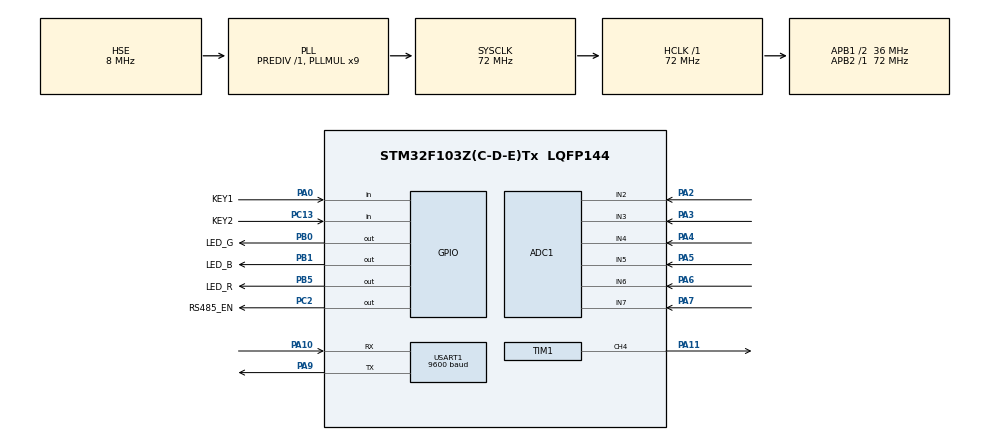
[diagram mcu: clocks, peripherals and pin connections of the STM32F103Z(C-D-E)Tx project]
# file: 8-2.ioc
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ADC1.Channel-0\#ChannelRegularConversion=ADC_CHANNEL_2
ADC1.Channel-1\#ChannelRegularConversion=ADC_CHANNEL_3
ADC1.Channel-2\#ChannelRegularConversion=ADC_CHANNEL_4
ADC1.Channel-3\#ChannelRegularConversion=ADC_CHANNEL_5
ADC1.Channel-4\#ChannelRegularConversion=ADC_CHANNEL_6
ADC1.Channel-5\#ChannelRegularConversion=ADC_CHANNEL_7
ADC1.ContinuousConvMode=ENABLE
ADC1.NbrOfConversion=6
ADC1.NbrOfConversionFlag=1
ADC1.Rank-0\#ChannelRegularConversion=1
ADC1.Rank-1\#ChannelRegularConversion=2
ADC1.Rank-2\#ChannelRegularConversion=3
ADC1.Rank-3\#ChannelRegularConversion=4
ADC1.Rank-4\#ChannelRegularConversion=5
ADC1.Rank-5\#ChannelRegularConversion=6
ADC1.SamplingTime-0\#ChannelRegularConversion=ADC_SAMPLETIME_55CYCLES_5
ADC1.SamplingTime-1\#ChannelRegularConversion=ADC_SAMPLETIME_55CYCLES_5
ADC1.SamplingTime-2\#ChannelRegularConversion=ADC_SAMPLETIME_55CYCLES_5
ADC1.SamplingTime-3\#ChannelRegularConversion=ADC_SAMPLETIME_55CYCLES_5
ADC1.SamplingTime-4\#ChannelRegularConversion=ADC_SAMPLETIME_55CYCLES_5
ADC1.SamplingTime-5\#ChannelRegularConversion=ADC_SAMPLETIME_55CYCLES_5
ADC1.master=1
Dma.ADC1.0.Direction=DMA_PERIPH_TO_MEMORY
Dma.ADC1.0.Instance=DMA1_Channel1
Dma.ADC1.0.MemDataAlignment=DMA_MDATAALIGN_WORD
Dma.ADC1.0.MemInc=DMA_MINC_ENABLE
Dma.ADC1.0.Mode=DMA_CIRCULAR
Dma.ADC1.0.PeriphDataAlignment=DMA_PDATAALIGN_WORD
Dma.ADC1.0.PeriphInc=DMA_PINC_DISABLE
Dma.ADC1.0.Priority=DMA_PRIORITY_LOW
Dma.Request0=ADC1
Mcu.Family=STM32F1
Mcu.Name=STM32F103Z(C-D-E)Tx
Mcu.Package=LQFP144
NVIC.ADC1_2_IRQn=true\:7\:0\:true\:false\:true\:true\:true\:true
NVIC.DMA1_Channel1_IRQn=true\:0\:0\:false\:false\:true\:false\:true\:true
NVIC.PriorityGroup=NVIC_PRIORITYGROUP_4
NVIC.TIM1_UP_IRQn=true\:8\:0\:true\:false\:true\:true\:true\:true
NVIC.TIM2_IRQn=true\:6\:0\:true\:false\:true\:true\:true\:true
NVIC.TIM3_IRQn=true\:9\:0\:true\:false\:true\:true\:true\:true
NVIC.TIM4_IRQn=true\:11\:0\:true\:false\:true\:true\:true\:true
NVIC.USART1_IRQn=true\:10\:0\:true\:false\:true\:true\:true\:true
OSC_IN.Mode=HSE-External-Oscillator
OSC_IN.Signal=RCC_OSC_IN
OSC_OUT.Mode=HSE-External-Oscillator
OSC_OUT.Signal=RCC_OSC_OUT
PA0-WKUP.GPIO_Label=KEY1
PA0-WKUP.GPIO_PuPd=GPIO_PULLDOWN
PA0-WKUP.Signal=GPIO_Input
PA10.Mode=Asynchronous
PA10.Signal=USART1_RX
PA11.Signal=S_TIM1_CH4
PA13.Mode=Serial_Wire
PA13.Signal=SYS_JTMS-SWDIO
PA14.Mode=Serial_Wire
PA14.Signal=SYS_JTCK-SWCLK
PA2.Signal=ADCx_IN2
PA3.Signal=ADCx_IN3
PA4.Signal=ADCx_IN4
PA5.Signal=ADCx_IN5
PA6.Signal=ADCx_IN6
PA7.Signal=ADCx_IN7
PA9.Mode=Asynchronous
PA9.Signal=USART1_TX
PB0.GPIO_Label=LED_G
PB0.GPIO_Speed=GPIO_SPEED_FREQ_LOW
PB0.PinState=GPIO_PIN_SET
PB0.Signal=GPIO_Output
PB1.GPIO_Label=LED_B
PB1.GPIO_Speed=GPIO_SPEED_FREQ_LOW
PB1.PinState=GPIO_PIN_SET
PB1.Signal=GPIO_Output
PB5.GPIO_Label=LED_R
PB5.GPIO_ModeDefaultOutputPP=GPIO_MODE_OUTPUT_PP
PB5.GPIO_PuPd=GPIO_NOPULL
PB5.GPIO_Speed=GPIO_SPEED_FREQ_LOW
PB5.PinState=GPIO_PIN_SET
PB5.Signal=GPIO_Output
PC13-TAMPER-RTC.GPIO_Label=KEY2
PC13-TAMPER-RTC.GPIO_PuPd=GPIO_PULLDOWN
PC13-TAMPER-RTC.Signal=GPIO_Input
PC14-OSC32_IN.Mode=LSE-External-Oscillator
PC14-OSC32_IN.Signal=RCC_OSC32_IN
PC15-OSC32_OUT.Mode=LSE-External-Oscillator
PC15-OSC32_OUT.Signal=RCC_OSC32_OUT
PC2.GPIO_Label=RS485_EN
PC2.Signal=GPIO_Output
ProjectManager.HeapSize=0x200
ProjectManager.StackSize=0x400
ProjectManager.TargetToolchain=MDK-ARM V5.32
RCC.ADCPresc=RCC_ADCPCLK2_DIV6
RCC.AHBFreq_Value=72000000
RCC.APB1CLKDivider=RCC_HCLK_DIV2
RCC.APB1Freq_Value=36000000
RCC.APB1TimFreq_Value=72000000
RCC.APB2Freq_Value=72000000
RCC.APB2TimFreq_Value=72000000
RCC.HCLKFreq_Value=72000000
RCC.PLLMUL=RCC_PLL_MUL9
RCC.PLLSourceVirtual=RCC_PLLSOURCE_HSE
RCC.SYSCLKFreq_VALUE=72000000
RCC.SYSCLKSource=RCC_SYSCLKSOURCE_PLLCLK
RCC.USBFreq_Value=72000000
SH.ADCx_IN2.0=ADC1_IN2,IN2
SH.ADCx_IN3.0=ADC1_IN3,IN3
SH.ADCx_IN4.0=ADC1_IN4,IN4
SH.ADCx_IN5.0=ADC1_IN5,IN5
SH.ADCx_IN6.0=ADC1_IN6,IN6
SH.ADCx_IN7.0=ADC1_IN7,IN7
SH.S_TIM1_CH4.0=TIM1_CH4,PWM Generation4 CH4
TIM1.AutoReloadPreload=TIM_AUTORELOAD_PRELOAD_ENABLE
TIM1.Channel-PWM\ Generation4\ CH4=TIM_CHANNEL_4
TIM1.Prescaler=5
TIM2.Period=49
TIM2.Prescaler=7199
TIM3.Period=99
TIM3.Prescaler=7199
TIM4.Prescaler=7199
USART1.BaudRate=9600
USART1.VirtualMode=VM_ASYNC
VP_TIM1_VS_ClockSourceINT.Mode=Internal
VP_TIM2_VS_ClockSourceINT.Mode=Internal
VP_TIM3_VS_ClockSourceINT.Mode=Internal
VP_TIM4_VS_ClockSourceINT.Mode=Internal
board=custom

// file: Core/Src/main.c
/* USER CODE BEGIN Header */
/**
  ******************************************************************************
  * @file           : main.c
  * @brief          : Main program body
  ******************************************************************************
  * @attention
  *
  * Copyright (c) 2026 STMicroelectronics.
  * All rights reserved.
  *
  * This software is licensed under terms that can be found in the LICENSE file
  * in the root directory of this software component.
  * If no LICENSE file comes with this software, it is provided AS-IS.
  *
  ******************************************************************************
  */
/* USER CODE END Header */
#include "main.h"

ADC_HandleTypeDef hadc1;
DMA_HandleTypeDef hdma_adc1;

TIM_HandleTypeDef htim1;
TIM_HandleTypeDef htim2;
TIM_HandleTypeDef htim3;
TIM_HandleTypeDef htim4;

UART_HandleTypeDef huart1;

void SystemClock_Config(void);
static void MX_GPIO_Init(void);
static void MX_DMA_Init(void);
static void MX_TIM1_Init(void);
static void MX_TIM3_Init(void);
static void MX_TIM4_Init(void);
static void MX_ADC1_Init(void);
static void MX_USART1_UART_Init(void);
static void MX_TIM2_Init(void);

int main(void)
{

  /* MCU Configuration--------------------------------------------------------*/

  /* Reset of all peripherals, Initializes the Flash interface and the Systick. */
  HAL_Init();

  /* Configure the system clock */
  SystemClock_Config();

  /* Initialize all configured peripherals */
  MX_GPIO_Init();
  MX_DMA_Init();
  MX_TIM1_Init();
  MX_TIM3_Init();
  MX_TIM4_Init();
  MX_ADC1_Init();
  MX_USART1_UART_Init();
  MX_TIM2_Init();
  /* USER CODE BEGIN 2 */
  uint8_t photoResBuf[9] = {0x01, 0x03, 0x04, 0x00, 0x00, 0x00, 0x00, 0x00, 0x00}; // 定义一个数组来存储要发送的光敏电阻数据，包含 Modbus RTU 协议的帧头、功能码、数据地址、数据长度和占位符

  /* USER CODE END 2 */

  /* Infinite loop */
  /* USER CODE BEGIN WHILE */
  while (1)
  {
    Key_Scan(); // 扫描按键状态，更新按键标志位

    // 如果按键1被按下，启动 ADC 转换并使用 DMA 将结果存储到 AD_Buf 中
    if (1 == Key1Flag) // 如果按键1被按下
    {
      Key1Flag = 0; // 重置按键1标志位
      HAL_ADC_Start_DMA(&hadc1, (uint32_t *)AD_Buf, ADC_DMA_BUF_LEN); // 启动 ADC 转换并使用 DMA 将结果存储到 AD_Buf 中
    }

    // 如果 DMA 传输完成，处理 ADC 转换结果并通过 RS485 发送光照强度数据
    if (1 == DMA_Flag) // 如果 DMA 传输完成
    {
      unsigned short lux = 0; // 定义一个变量来存储计算得到的光照强度值
      unsigned short crcTemp = 0; // 定义一个变量来存储 CRC 校验值
      uint32_t PhotoResistor = (uint32_t)(10240000 / (1.1 * ADC1_AVG_Buf[4]) -2500); // 根据 ADC1 的第5个通道的平均值计算光敏电阻的阻值，单位为欧姆
      lux = GetLux(PhotoResistor); // 根据光敏电阻的阻值计算光照强度，单位为勒克斯
      photoResBuf[5] = lux >> 8; // 将光照强度的高字节存储到发送缓冲区的第6个位置
      photoResBuf[6] = lux & 0xFF; // 将光照强度的低字节存储到发送缓冲区的第7个位置
      crcTemp = CRC_Compute(photoResBuf, 7); // 计算发送缓冲区前7个字节的 CRC 校验值，使用 Modbus RTU 协议的 CRC16 算法
      photoResBuf[7] = crcTemp & 0xFF; // 将 CRC 校验值的低字节存储到发送缓冲区的第8个位置
      photoResBuf[8] = crcTemp >> 8; // 将 CRC 校验值的高字节存储到发送缓冲区的第9个位置
      RS485_Send(photoResBuf, 9); // 通过 RS485 接口发送整个缓冲区的数据，长度为9字节
      DMA_Flag = 0; // 重置 DMA 传输完成标志
    }

    // 如果接收到 UART 数据并且接收完成标志被设置，处理接收到的数据
    if(Uart1ReceiveFlag)
    {
      if(BROADCAST == Uart1ReceiveBuf[0]) // 如果接收到的数据的第一个字节是广播地址，处理广播命令
      {
        // 进行 CRC 校验
        unsigned short crctemp = CRC_Compute(Uart1ReceiveBuf,Uart1ReceiveCnt - 2);
        if((Uart1ReceiveBuf[Uart1ReceiveCnt - 1] << 8 | Uart1ReceiveBuf[Uart1ReceiveCnt - 1]) == crctemp)
        {
          //写引脚 功能码06 引脚地址默认05
          if((0x06 == Uart1ReceiveBuf[1])&&(0x05 == Uart1ReceiveBuf[3]))
          {
            LED_RED = Uart1ReceiveBuf[5];
          }
        }
      }
      else if(PHOTO_RES == Uart1ReceiveBuf[0])
      {
        //CRC校验
        unsigned short crctemp = CRC_Compute(Uart1ReceiveBuf,Uart1ReceiveCnt - 2);
        if((Uart1ReceiveBuf[Uart1ReceiveCnt - 1] << 8 | Uart1ReceiveBuf[Uart1ReceiveCnt - 2]) == crctemp)
        {
          //写引脚 功能码06 引脚地址默认05
          if((0x06 == Uart1ReceiveBuf[1])&&(0x05 == Uart1ReceiveBuf[3]))
          {
            LED_RED = Uart1ReceiveBuf[5];
            //单播数据需要返回
            RS485_Send(Uart1ReceiveBuf,Uart1ReceiveCnt);
          }
          //读光照度 功能码03 光照度默认地址01 4字节
          if((0x03 == Uart1ReceiveBuf[1])&&(0x01 == Uart1ReceiveBuf[3]))
          {
            //开启ADC1的DMA通道
            HAL_ADC_Start_DMA(&hadc1,(uint32_t *)AD_Buf,ADC_DMA_BUF_LEN);
          }
        }
      }
      Uart1ReceiveCnt = 0;
      Uart1ReceiveFlag = 0;
    }
    /* USER CODE END WHILE */

  }
}

void SystemClock_Config(void)
{
  RCC_OscInitTypeDef RCC_OscInitStruct = {0};
  RCC_ClkInitTypeDef RCC_ClkInitStruct = {0};
  RCC_PeriphCLKInitTypeDef PeriphClkInit = {0};

  /** Initializes the RCC Oscillators according to the specified parameters
  * in the RCC_OscInitTypeDef structure.
  */
  RCC_OscInitStruct.OscillatorType = RCC_OSCILLATORTYPE_HSE;
  RCC_OscInitStruct.HSEState = RCC_HSE_ON;
  RCC_OscInitStruct.HSEPredivValue = RCC_HSE_PREDIV_DIV1;
  RCC_OscInitStruct.HSIState = RCC_HSI_ON;
  RCC_OscInitStruct.PLL.PLLState = RCC_PLL_ON;
  RCC_OscInitStruct.PLL.PLLSource = RCC_PLLSOURCE_HSE;
  RCC_OscInitStruct.PLL.PLLMUL = RCC_PLL_MUL9;
  if (HAL_RCC_OscConfig(&RCC_OscInitStruct) != HAL_OK)
  {
    Error_Handler();
  }

  /** Initializes the CPU, AHB and APB buses clocks
  */
  RCC_ClkInitStruct.ClockType = RCC_CLOCKTYPE_HCLK|RCC_CLOCKTYPE_SYSCLK
                              |RCC_CLOCKTYPE_PCLK1|RCC_CLOCKTYPE_PCLK2;
  RCC_ClkInitStruct.SYSCLKSource = RCC_SYSCLKSOURCE_PLLCLK;
  RCC_ClkInitStruct.AHBCLKDivider = RCC_SYSCLK_DIV1;
  RCC_ClkInitStruct.APB1CLKDivider = RCC_HCLK_DIV2;
  RCC_ClkInitStruct.APB2CLKDivider = RCC_HCLK_DIV1;

  if (HAL_RCC_ClockConfig(&RCC_ClkInitStruct, FLASH_LATENCY_2) != HAL_OK)
  {
    Error_Handler();
  }
  PeriphClkInit.PeriphClockSelection = RCC_PERIPHCLK_ADC;
  PeriphClkInit.AdcClockSelection = RCC_ADCPCLK2_DIV6;
  if (HAL_RCCEx_PeriphCLKConfig(&PeriphClkInit) != HAL_OK)
  {
    Error_Handler();
  }
}

static void MX_ADC1_Init(void)
{

  ADC_ChannelConfTypeDef sConfig = {0};

  /** Common config
  */
  hadc1.Instance = ADC1;
  hadc1.Init.ScanConvMode = ADC_SCAN_ENABLE;
  hadc1.Init.ContinuousConvMode = ENABLE;
  hadc1.Init.DiscontinuousConvMode = DISABLE;
  hadc1.Init.ExternalTrigConv = ADC_SOFTWARE_START;
  hadc1.Init.DataAlign = ADC_DATAALIGN_RIGHT;
  hadc1.Init.NbrOfConversion = 6;
  if (HAL_ADC_Init(&hadc1) != HAL_OK)
  {
    Error_Handler();
  }

  /** Configure Regular Channel
  */
  sConfig.Channel = ADC_CHANNEL_2;
  sConfig.Rank = ADC_REGULAR_RANK_1;
  sConfig.SamplingTime = ADC_SAMPLETIME_55CYCLES_5;
  if (HAL_ADC_ConfigChannel(&hadc1, &sConfig) != HAL_OK)
  {
    Error_Handler();
  }

  /** Configure Regular Channel
  */
  sConfig.Channel = ADC_CHANNEL_3;
  sConfig.Rank = ADC_REGULAR_RANK_2;
  if (HAL_ADC_ConfigChannel(&hadc1, &sConfig) != HAL_OK)
  {
    Error_Handler();
  }

  /** Configure Regular Channel
  */
  sConfig.Channel = ADC_CHANNEL_4;
  sConfig.Rank = ADC_REGULAR_RANK_3;
  if (HAL_ADC_ConfigChannel(&hadc1, &sConfig) != HAL_OK)
  {
    Error_Handler();
  }

  /** Configure Regular Channel
  */
  sConfig.Channel = ADC_CHANNEL_5;
  sConfig.Rank = ADC_REGULAR_RANK_4;
  if (HAL_ADC_ConfigChannel(&hadc1, &sConfig) != HAL_OK)
  {
    Error_Handler();
  }

  /** Configure Regular Channel
  */
  sConfig.Channel = ADC_CHANNEL_6;
  sConfig.Rank = ADC_REGULAR_RANK_5;
  if (HAL_ADC_ConfigChannel(&hadc1, &sConfig) != HAL_OK)
  {
    Error_Handler();
  }

  /** Configure Regular Channel
  */
  sConfig.Channel = ADC_CHANNEL_7;
  sConfig.Rank = ADC_REGULAR_RANK_6;
  if (HAL_ADC_ConfigChannel(&hadc1, &sConfig) != HAL_OK)
  {
    Error_Handler();
  }
  /* USER CODE BEGIN ADC1_Init 2 */
  HAL_ADCEx_Calibration_Start(&hadc1); // 启动 ADC1 校准
  /* USER CODE END ADC1_Init 2 */

}

static void MX_TIM1_Init(void)
{

  TIM_ClockConfigTypeDef sClockSourceConfig = {0};
  TIM_MasterConfigTypeDef sMasterConfig = {0};
  TIM_OC_InitTypeDef sConfigOC = {0};
  TIM_BreakDeadTimeConfigTypeDef sBreakDeadTimeConfig = {0};

  /* USER CODE END TIM1_Init 1 */
  htim1.Instance = TIM1;
  htim1.Init.Prescaler = 5;
  htim1.Init.CounterMode = TIM_COUNTERMODE_UP;
  htim1.Init.Period = 65535;
  htim1.Init.ClockDivision = TIM_CLOCKDIVISION_DIV1;
  htim1.Init.RepetitionCounter = 0;
  htim1.Init.AutoReloadPreload = TIM_AUTORELOAD_PRELOAD_ENABLE;
  if (HAL_TIM_Base_Init(&htim1) != HAL_OK)
  {
    Error_Handler();
  }
  sClockSourceConfig.ClockSource = TIM_CLOCKSOURCE_INTERNAL;
  if (HAL_TIM_ConfigClockSource(&htim1, &sClockSourceConfig) != HAL_OK)
  {
    Error_Handler();
  }
  if (HAL_TIM_PWM_Init(&htim1) != HAL_OK)
  {
    Error_Handler();
  }
  sMasterConfig.MasterOutputTrigger = TIM_TRGO_RESET;
  sMasterConfig.MasterSlaveMode = TIM_MASTERSLAVEMODE_DISABLE;
  if (HAL_TIMEx_MasterConfigSynchronization(&htim1, &sMasterConfig) != HAL_OK)
  {
    Error_Handler();
  }
  sConfigOC.OCMode = TIM_OCMODE_PWM1;
  sConfigOC.Pulse = 0;
  sConfigOC.OCPolarity = TIM_OCPOLARITY_HIGH;
  sConfigOC.OCFastMode = TIM_OCFAST_DISABLE;
  sConfigOC.OCIdleState = TIM_OCIDLESTATE_RESET;
  sConfigOC.OCNIdleState = TIM_OCNIDLESTATE_RESET;
  if (HAL_TIM_PWM_ConfigChannel(&htim1, &sConfigOC, TIM_CHANNEL_4) != HAL_OK)
  {
    Error_Handler();
  }
  sBreakDeadTimeConfig.OffStateRunMode = TIM_OSSR_DISABLE;
  sBreakDeadTimeConfig.OffStateIDLEMode = TIM_OSSI_DISABLE;
  sBreakDeadTimeConfig.LockLevel = TIM_LOCKLEVEL_OFF;
  sBreakDeadTimeConfig.DeadTime = 0;
  sBreakDeadTimeConfig.BreakState = TIM_BREAK_DISABLE;
  sBreakDeadTimeConfig.BreakPolarity = TIM_BREAKPOLARITY_HIGH;
  sBreakDeadTimeConfig.AutomaticOutput = TIM_AUTOMATICOUTPUT_DISABLE;
  if (HAL_TIMEx_ConfigBreakDeadTime(&htim1, &sBreakDeadTimeConfig) != HAL_OK)
  {
    Error_Handler();
  }
  HAL_TIM_MspPostInit(&htim1);

}

static void MX_TIM2_Init(void)
{

  TIM_ClockConfigTypeDef sClockSourceConfig = {0};
  TIM_MasterConfigTypeDef sMasterConfig = {0};

  htim2.Instance = TIM2;
  htim2.Init.Prescaler = 7199;
  htim2.Init.CounterMode = TIM_COUNTERMODE_UP;
  htim2.Init.Period = 49;
  htim2.Init.ClockDivision = TIM_CLOCKDIVISION_DIV1;
  htim2.Init.AutoReloadPreload = TIM_AUTORELOAD_PRELOAD_DISABLE;
  if (HAL_TIM_Base_Init(&htim2) != HAL_OK)
  {
    Error_Handler();
  }
  sClockSourceConfig.ClockSource = TIM_CLOCKSOURCE_INTERNAL;
  if (HAL_TIM_ConfigClockSource(&htim2, &sClockSourceConfig) != HAL_OK)
  {
    Error_Handler();
  }
  sMasterConfig.MasterOutputTrigger = TIM_TRGO_RESET;
  sMasterConfig.MasterSlaveMode = TIM_MASTERSLAVEMODE_DISABLE;
  if (HAL_TIMEx_MasterConfigSynchronization(&htim2, &sMasterConfig) != HAL_OK)
  {
    Error_Handler();
  }

}

static void MX_TIM3_Init(void)
{

  TIM_ClockConfigTypeDef sClockSourceConfig = {0};
  TIM_MasterConfigTypeDef sMasterConfig = {0};

  htim3.Instance = TIM3;
  htim3.Init.Prescaler = 7199;
  htim3.Init.CounterMode = TIM_COUNTERMODE_UP;
  htim3.Init.Period = 99;
  htim3.Init.ClockDivision = TIM_CLOCKDIVISION_DIV1;
  htim3.Init.AutoReloadPreload = TIM_AUTORELOAD_PRELOAD_DISABLE;
  if (HAL_TIM_Base_Init(&htim3) != HAL_OK)
  {
    Error_Handler();
  }
  sClockSourceConfig.ClockSource = TIM_CLOCKSOURCE_INTERNAL;
  if (HAL_TIM_ConfigClockSource(&htim3, &sClockSourceConfig) != HAL_OK)
  {
    Error_Handler();
  }
  sMasterConfig.MasterOutputTrigger = TIM_TRGO_RESET;
  sMasterConfig.MasterSlaveMode = TIM_MASTERSLAVEMODE_DISABLE;
  if (HAL_TIMEx_MasterConfigSynchronization(&htim3, &sMasterConfig) != HAL_OK)
  {
    Error_Handler();
  }

}

static void MX_TIM4_Init(void)
{

  TIM_ClockConfigTypeDef sClockSourceConfig = {0};
  TIM_MasterConfigTypeDef sMasterConfig = {0};

  htim4.Instance = TIM4;
  htim4.Init.Prescaler = 7199;
  htim4.Init.CounterMode = TIM_COUNTERMODE_UP;
  htim4.Init.Period = 65535;
  htim4.Init.ClockDivision = TIM_CLOCKDIVISION_DIV1;
  htim4.Init.AutoReloadPreload = TIM_AUTORELOAD_PRELOAD_DISABLE;
  if (HAL_TIM_Base_Init(&htim4) != HAL_OK)
  {
    Error_Handler();
  }
  sClockSourceConfig.ClockSource = TIM_CLOCKSOURCE_INTERNAL;
  if (HAL_TIM_ConfigClockSource(&htim4, &sClockSourceConfig) != HAL_OK)
  {
    Error_Handler();
  }
  sMasterConfig.MasterOutputTrigger = TIM_TRGO_RESET;
  sMasterConfig.MasterSlaveMode = TIM_MASTERSLAVEMODE_DISABLE;
  if (HAL_TIMEx_MasterConfigSynchronization(&htim4, &sMasterConfig) != HAL_OK)
  {
    Error_Handler();
  }

}

static void MX_USART1_UART_Init(void)
{

  huart1.Instance = USART1;
  huart1.Init.BaudRate = 9600;
  huart1.Init.WordLength = UART_WORDLENGTH_8B;
  huart1.Init.StopBits = UART_STOPBITS_1;
  huart1.Init.Parity = UART_PARITY_NONE;
  huart1.Init.Mode = UART_MODE_TX_RX;
  huart1.Init.HwFlowCtl = UART_HWCONTROL_NONE;
  huart1.Init.OverSampling = UART_OVERSAMPLING_16;
  if (HAL_UART_Init(&huart1) != HAL_OK)
  {
    Error_Handler();
  }
  /* USER CODE BEGIN USART1_Init 2 */

  HAL_UART_Receive_IT(&huart1, Uart1Temp, REC_LENGTH); // 启动 UART 接收中断，准备接收数据
  /* USER CODE END USART1_Init 2 */

}

static void MX_DMA_Init(void)
{

  /* DMA controller clock enable */
  __HAL_RCC_DMA1_CLK_ENABLE();

  /* DMA interrupt init */
  /* DMA1_Channel1_IRQn interrupt configuration */
  HAL_NVIC_SetPriority(DMA1_Channel1_IRQn, 0, 0);
  HAL_NVIC_EnableIRQ(DMA1_Channel1_IRQn);

}

static void MX_GPIO_Init(void)
{
  GPIO_InitTypeDef GPIO_InitStruct = {0};

  /* GPIO Ports Clock Enable */
  __HAL_RCC_GPIOC_CLK_ENABLE();
  __HAL_RCC_GPIOA_CLK_ENABLE();
  __HAL_RCC_GPIOB_CLK_ENABLE();

  /*Configure GPIO pin Output Level */
  HAL_GPIO_WritePin(RS485_EN_GPIO_Port, RS485_EN_Pin, GPIO_PIN_RESET);

  /*Configure GPIO pin Output Level */
  HAL_GPIO_WritePin(GPIOB, LED_G_Pin|LED_B_Pin|LED_R_Pin, GPIO_PIN_SET);

  /*Configure GPIO pin : KEY2_Pin */
  GPIO_InitStruct.Pin = KEY2_Pin;
  GPIO_InitStruct.Mode = GPIO_MODE_INPUT;
  GPIO_InitStruct.Pull = GPIO_PULLDOWN;
  HAL_GPIO_Init(KEY2_GPIO_Port, &GPIO_InitStruct);

  /*Configure GPIO pin : RS485_EN_Pin */
  GPIO_InitStruct.Pin = RS485_EN_Pin;
  GPIO_InitStruct.Mode = GPIO_MODE_OUTPUT_PP;
  GPIO_InitStruct.Pull = GPIO_NOPULL;
  GPIO_InitStruct.Speed = GPIO_SPEED_FREQ_LOW;
  HAL_GPIO_Init(RS485_EN_GPIO_Port, &GPIO_InitStruct);

  /*Configure GPIO pin : KEY1_Pin */
  GPIO_InitStruct.Pin = KEY1_Pin;
  GPIO_InitStruct.Mode = GPIO_MODE_INPUT;
  GPIO_InitStruct.Pull = GPIO_PULLDOWN;
  HAL_GPIO_Init(KEY1_GPIO_Port, &GPIO_InitStruct);

  /*Configure GPIO pins : LED_G_Pin LED_B_Pin LED_R_Pin */
  GPIO_InitStruct.Pin = LED_G_Pin|LED_B_Pin|LED_R_Pin;
  GPIO_InitStruct.Mode = GPIO_MODE_OUTPUT_PP;
  GPIO_InitStruct.Pull = GPIO_NOPULL;
  GPIO_InitStruct.Speed = GPIO_SPEED_FREQ_LOW;
  HAL_GPIO_Init(GPIOB, &GPIO_InitStruct);

}

void Error_Handler(void)
{
  __disable_irq();
  while (1)
  {
  }
}
